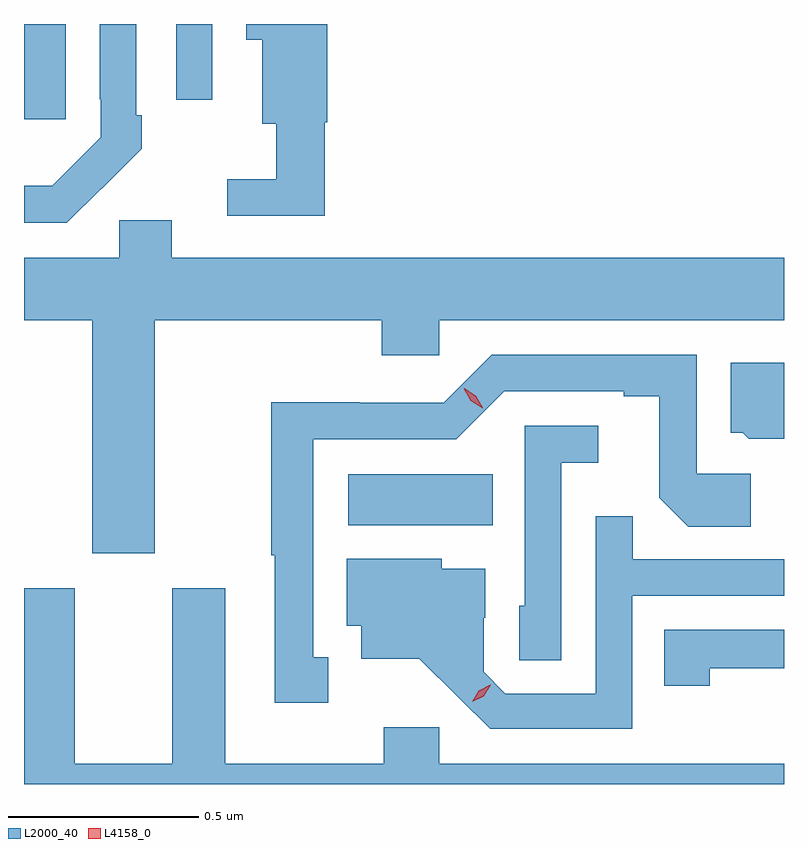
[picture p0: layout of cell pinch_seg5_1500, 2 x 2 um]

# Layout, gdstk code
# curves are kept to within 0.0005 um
import gdstk
lib = gdstk.Library(unit=1e-6, precision=1e-09)
def R(c, l, rs):  # rectangles x0, y0, x1, y1
    for r in rs: c.add(gdstk.rectangle(r[:2], r[2:], *l))
def P(c, l, *ps):  # polygons
    for p in ps: c.add(gdstk.Polygon(p, *l))
L2000_40 = (2000, 40)
L4158_0 = (4158, 0)

pinch_seg5_1500 = lib.new_cell('pinch_seg5_1500')
R(pinch_seg5_1500, L2000_40, [(158.91,880.196,159.29,880.33), (158.057,881.265,158.167,881.515), (158.457,881.316,158.553,881.515)])
P(pinch_seg5_1500, L2000_40, [(158.849,881.256),(158.855,881.256),(158.855,881.515),(158.642,881.515),(158.642,881.474),(158.684,881.474),(158.684,881.252),(158.721,881.252),(158.721,881.107),(158.592,881.107),(158.592,881.01),(158.849,881.01)],
  [(158.261,881.083),(158.262,881.082),(158.367,881.187),(158.367,881.275),(158.352,881.275),(158.352,881.515),(158.256,881.515),(158.256,881.317),(158.259,881.317),(158.259,881.217),(158.131,881.089),(158.057,881.089),(158.057,880.992),(158.17,880.992)],
  [(158.401,880.736),(158.999,880.736),(158.999,880.643),(159.15,880.643),(159.15,880.736),(160.057,880.736),(160.057,880.9),(158.446,880.9),(158.446,880.998),(158.307,880.998),(158.307,880.9),(158.057,880.9),(158.057,880.736),(158.237,880.736),(158.237,880.122),(158.401,880.122)],
  [(158.857,879.849),(158.818,879.849),(158.818,880.422),(159.195,880.422),(159.321,880.548),(159.635,880.548),(159.635,880.536),(159.729,880.536),(159.729,880.268),(159.805,880.192),(159.97,880.192),(159.97,880.332),(159.828,880.332),(159.828,880.644),(159.288,880.644),(159.162,880.518),(158.94,880.518),(158.94,880.52),(158.707,880.52),(158.707,880.117),(158.717,880.117),(158.717,879.729),(158.857,879.729)],
  [(160.057,880.624),(159.917,880.624),(159.917,880.44),(159.948,880.44),(159.964,880.424),(160.057,880.424)],
  [(159.471,880.361),(159.568,880.361),(159.568,880.458),(159.375,880.458),(159.375,879.984),(159.36,879.984),(159.36,879.841),(159.471,879.841)],
  [(159.657,880.011),(160.057,880.011),(160.057,880.107),(159.659,880.107),(159.659,880.22),(159.561,880.22),(159.561,879.753),(159.324,879.753),(159.267,879.81),(159.267,879.952),(159.271,879.952),(159.271,880.081),(159.156,880.081),(159.156,880.108),(158.906,880.108),(158.906,879.932),(158.945,879.932),(158.945,879.845),(159.097,879.845),(159.284,879.66),(159.657,879.66)],
  [(160.057,879.568),(159.15,879.568),(159.15,879.664),(159.004,879.664),(159.004,879.568),(158.587,879.568),(158.587,880.03),(158.447,880.03),(158.447,879.568),(158.191,879.568),(158.191,880.03),(158.057,880.03),(158.057,879.515),(160.057,879.515)],
  [(159.861,879.82),(160.057,879.82),(160.057,879.921),(159.742,879.921),(159.742,879.774),(159.861,879.774)])
P(pinch_seg5_1500, L4158_0, [(159.236,879.731),(159.236,879.731),(159.254,879.761),(159.284,879.776),(159.285,879.776),(159.285,879.776),(159.267,879.746),(159.236,879.731)],
  [(159.264,880.504),(159.232,880.523),(159.214,880.556),(159.214,880.556),(159.215,880.556),(159.246,880.537),(159.264,880.505),(159.264,880.504)])

lib.write_gds('pinch_seg5_1500.gds')
